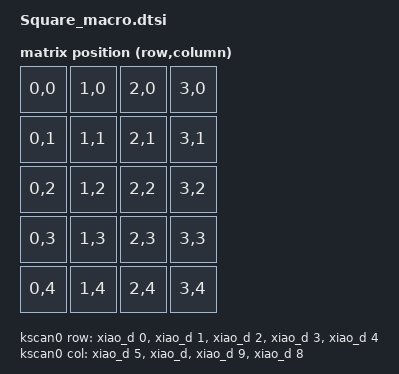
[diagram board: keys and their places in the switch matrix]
#include <dt-bindings/zmk/matrix_transform.h>
#include <physical_layouts.dtsi>
#include <dt-bindings/zmk/bt.h>

 / {
  chosen {
    zmk,physical-layout = &title72_physical_layout;
  };

  title72_physical_layout: title72_physical_layout {
    compatible = "zmk,physical-layout";
    display-name = "Default";
    transform = <&default_transform>;
    kscan = <&kscan0>;

    keys  //  w   h   x   y   rot  rx  ry
        = <&key_physical_attrs 100 100   0   0    0   0   0>  // (0,0)
        , <&key_physical_attrs 100 100 100   0    0   0   0>  // (0,1)
        , <&key_physical_attrs 100 100 200   0    0   0   0>  // (0,2)
        , <&key_physical_attrs 100 100 300   0    0   0   0>  // (0,3)

        , <&key_physical_attrs 100 100   0 100    0   0   0>  // (1,0)
        , <&key_physical_attrs 100 100 100 100    0   0   0>  // (1,1)
        , <&key_physical_attrs 100 100 200 100    0   0   0>  // (1,2)
        , <&key_physical_attrs 100 100 300 100    0   0   0>  // (1,3)

        , <&key_physical_attrs 100 100   0 200    0   0   0>  // (2,0)
        , <&key_physical_attrs 100 100 100 200    0   0   0>  // (2,1)
        , <&key_physical_attrs 100 100 200 200    0   0   0>  // (2,2)
        , <&key_physical_attrs 100 100 300 200    0   0   0>  // (2,3)

        , <&key_physical_attrs 100 100   0 300    0   0   0>  // (3,0)
        , <&key_physical_attrs 100 100 100 300    0   0   0>  // (3,1)
        , <&key_physical_attrs 100 100 200 300    0   0   0>  // (3,2)
        , <&key_physical_attrs 100 100 300 300    0   0   0>  // (3,3)

        , <&key_physical_attrs 100 100   0 400    0   0   0>  // (4,0)
        , <&key_physical_attrs 100 100 100 400    0   0   0>  // (4,1)
        , <&key_physical_attrs 100 100 200 400    0   0   0>  // (4,2)
        , <&key_physical_attrs 100 100 300 400    0   0   0>  // (4,3)
        ;
    encoders = <&encoder0>;
  };
  encoder0: encoder0 {
    compatible = "zmk,behavior-encoder";
    gpios = <&gpio0 6 (GPIO_PULL_UP | GPIO_ACTIVE_LOW)>,  // A相ピン
            <&gpio0 7 (GPIO_PULL_UP | GPIO_ACTIVE_LOW)>;  // B相ピン
    tap_behavior = <&kp KC_VOLD>;  // 回転時に送信するキー（音量ダウン）
    cw_behavior = <&kp KC_VOLU>;   // 時計回りの動作（音量アップ）
    ccw_behavior = <&kp KC_VOLD>;  // 反時計回りの動作（音量ダウン）
  };

  default_transform: keymap_transform_0 {
    compatible = "zmk,matrix-transform";
    columns = <4>;  // 4列
    rows = <5>;     // 5行

    map = <
      RC(0,0)  RC(1,0)  RC(2,0)  RC(3,0)
      RC(0,1)  RC(1,1)  RC(2,1)  RC(3,1)
      RC(0,2)  RC(1,2)  RC(2,2)  RC(3,2)
      RC(0,3)  RC(1,3)  RC(2,3)  RC(3,3)
      RC(0,4)  RC(1,4)  RC(2,4)  RC(3,4)
    >;
  };

  kscan0: kscan_0 {
    compatible = "zmk,kscan-gpio-matrix";
    row-gpios
      = <&xiao_d 0 (GPIO_ACTIVE_LOW | GPIO_PULL_UP)>
      , <&xiao_d 1 (GPIO_ACTIVE_LOW | GPIO_PULL_UP)>
      , <&xiao_d 2 (GPIO_ACTIVE_LOW | GPIO_PULL_UP)>
      , <&xiao_d 3 (GPIO_ACTIVE_LOW | GPIO_PULL_UP)>
      , <&xiao_d 4 (GPIO_ACTIVE_LOW | GPIO_PULL_UP)>;

    col-gpios
      = <&xiao_d 5 (GPIO_ACTIVE_LOW | GPIO_PULL_UP)>
      , <&xiao_d 10(GPIO_ACTIVE_LOW | GPIO_PULL_UP)>
      , <&xiao_d 9 (GPIO_ACTIVE_LOW | GPIO_PULL_UP)>
      , <&xiao_d 8 (GPIO_ACTIVE_LOW | GPIO_PULL_UP)>;
  };
};
